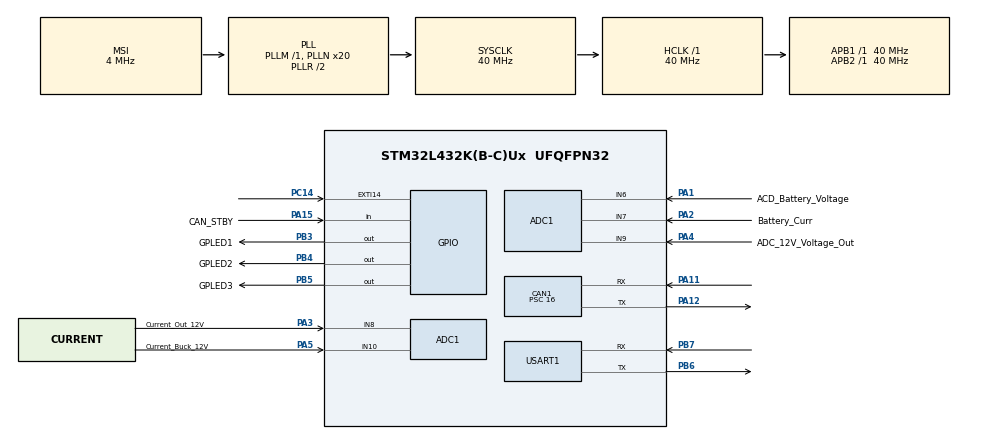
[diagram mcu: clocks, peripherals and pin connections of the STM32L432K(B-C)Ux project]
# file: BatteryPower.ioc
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ADC1.Channel-0\#ChannelRegularConversion=ADC_CHANNEL_6
ADC1.Channel-1\#ChannelRegularConversion=ADC_CHANNEL_7
ADC1.Channel-2\#ChannelRegularConversion=ADC_CHANNEL_8
ADC1.Channel-3\#ChannelRegularConversion=ADC_CHANNEL_9
ADC1.Channel-4\#ChannelRegularConversion=ADC_CHANNEL_10
ADC1.ContinuousConvMode=DISABLE
ADC1.NbrOfConversion=5
ADC1.NbrOfConversionFlag=1
ADC1.OffsetNumber-0\#ChannelRegularConversion=ADC_OFFSET_NONE
ADC1.OffsetNumber-1\#ChannelRegularConversion=ADC_OFFSET_NONE
ADC1.OffsetNumber-2\#ChannelRegularConversion=ADC_OFFSET_NONE
ADC1.OffsetNumber-3\#ChannelRegularConversion=ADC_OFFSET_NONE
ADC1.OffsetNumber-4\#ChannelRegularConversion=ADC_OFFSET_NONE
ADC1.Rank-0\#ChannelRegularConversion=1
ADC1.Rank-1\#ChannelRegularConversion=2
ADC1.Rank-2\#ChannelRegularConversion=3
ADC1.Rank-3\#ChannelRegularConversion=4
ADC1.Rank-4\#ChannelRegularConversion=5
ADC1.SamplingTime-0\#ChannelRegularConversion=ADC_SAMPLETIME_2CYCLES_5
ADC1.SamplingTime-1\#ChannelRegularConversion=ADC_SAMPLETIME_2CYCLES_5
ADC1.SamplingTime-2\#ChannelRegularConversion=ADC_SAMPLETIME_2CYCLES_5
ADC1.SamplingTime-3\#ChannelRegularConversion=ADC_SAMPLETIME_2CYCLES_5
ADC1.SamplingTime-4\#ChannelRegularConversion=ADC_SAMPLETIME_2CYCLES_5
ADC1.master=1
CAN1.BS1=CAN_BS1_3TQ
CAN1.CalculateBaudRate=500000
CAN1.CalculateTimeBit=2000
CAN1.CalculateTimeQuantum=400.0
CAN1.Prescaler=16
Dma.ADC1.0.Direction=DMA_PERIPH_TO_MEMORY
Dma.ADC1.0.Instance=DMA1_Channel1
Dma.ADC1.0.MemDataAlignment=DMA_MDATAALIGN_WORD
Dma.ADC1.0.MemInc=DMA_MINC_ENABLE
Dma.ADC1.0.Mode=DMA_CIRCULAR
Dma.ADC1.0.PeriphDataAlignment=DMA_PDATAALIGN_WORD
Dma.ADC1.0.PeriphInc=DMA_PINC_DISABLE
Dma.ADC1.0.Priority=DMA_PRIORITY_LOW
Dma.Request0=ADC1
FREERTOS.Queues01=canRxQueue,16,uint32_t,0,Dynamic,NULL,NULL
FREERTOS.Tasks01=pull_sensor,24,128,AdcTask,Default,NULL,Dynamic,NULL,NULL;can_manger,8,128,CanTask,Default,NULL,Dynamic,NULL,NULL
Mcu.Family=STM32L4
Mcu.Name=STM32L432K(B-C)Ux
Mcu.Package=UFQFPN32
NVIC.DMA1_Channel1_IRQn=true\:5\:0\:false\:false\:true\:true\:false\:true\:true
NVIC.PriorityGroup=NVIC_PRIORITYGROUP_4
PA1.GPIO_Label=ACD_Battery_Voltage
PA1.Signal=ADCx_IN6
PA11.Mode=CAN_Activate
PA11.Signal=CAN1_RX
PA12.Mode=CAN_Activate
PA12.Signal=CAN1_TX
PA13\ (JTMS-SWDIO).Mode=Serial_Wire
PA13\ (JTMS-SWDIO).Signal=SYS_JTMS-SWDIO
PA14\ (JTCK-SWCLK).Mode=Serial_Wire
PA14\ (JTCK-SWCLK).Signal=SYS_JTCK-SWCLK
PA15\ (JTDI).GPIO_Label=CAN_STBY
PA15\ (JTDI).GPIO_PuPd=GPIO_PULLDOWN
PA15\ (JTDI).Signal=GPIO_Input
PA2.GPIO_Label=Battery_Curr
PA2.Signal=ADCx_IN7
PA3.GPIO_Label=Current_Out_12V
PA3.Signal=ADCx_IN8
PA4.GPIO_Label=ADC_12V_Voltage_Out
PA4.Signal=ADCx_IN9
PA5.GPIO_Label=Current_Buck_12V
PA5.Signal=ADCx_IN10
PB3\ (JTDO-TRACESWO).GPIO_Label=GPLED1
PB3\ (JTDO-TRACESWO).Signal=GPIO_Output
PB4\ (NJTRST).GPIO_Label=GPLED2
PB4\ (NJTRST).Signal=GPIO_Output
PB5.GPIO_Label=GPLED3
PB5.Signal=GPIO_Output
PB6.Mode=Asynchronous
PB6.Signal=USART1_TX
PB7.Mode=Asynchronous
PB7.Signal=USART1_RX
PC14-OSC32_IN\ (PC14).Signal=GPXTI14
ProjectManager.HeapSize=0x200
ProjectManager.StackSize=0x400
ProjectManager.TargetToolchain=STM32CubeIDE
RCC.ADCFreq_Value=32000000
RCC.AHBFreq_Value=40000000
RCC.APB1Freq_Value=40000000
RCC.APB1TimFreq_Value=40000000
RCC.APB2Freq_Value=40000000
RCC.APB2TimFreq_Value=40000000
RCC.CortexFreq_Value=40000000
RCC.HCLKFreq_Value=40000000
RCC.HSE_VALUE=8000000
RCC.HSI48_VALUE=48000000
RCC.HSI_VALUE=16000000
RCC.LSE_VALUE=32768
RCC.MSI_VALUE=4000000
RCC.PLLN=20
RCC.PLLSAI1N=16
RCC.SYSCLKFreq_VALUE=40000000
RCC.SYSCLKSource=RCC_SYSCLKSOURCE_PLLCLK
RCC.USBFreq_Value=32000000
RCC.VCOOutputFreq_Value=80000000
SH.ADCx_IN10.0=ADC1_IN10,IN10-Single-Ended
SH.ADCx_IN6.0=ADC1_IN6,IN6-Single-Ended
SH.ADCx_IN7.0=ADC1_IN7,IN7-Single-Ended
SH.ADCx_IN8.0=ADC1_IN8,IN8-Single-Ended
SH.ADCx_IN9.0=ADC1_IN9,IN9-Single-Ended
USART1.VirtualMode-Asynchronous=VM_ASYNC
VP_FREERTOS_VS_CMSIS_V2.Mode=CMSIS_V2
board=custom

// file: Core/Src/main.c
/* USER CODE BEGIN Header */
/**
  ******************************************************************************
  * @file           : main.c
  * @brief          : Main program body
  ******************************************************************************
  * @attention
  *
  * Copyright (c) 2024 STMicroelectronics.
  * All rights reserved.
  *
  * This software is licensed under terms that can be found in the LICENSE file
  * in the root directory of this software component.
  * If no LICENSE file comes with this software, it is provided AS-IS.
  *
  ******************************************************************************
  */
/* USER CODE END Header */
#include "main.h"
#include "cmsis_os.h"

/* USER CODE BEGIN PTD */

typedef struct bbData_t {
  uint32_t batt_volt;
  uint32_t batt_cur;
  uint32_t output_volt; // 12 volt output voltage
  uint32_t output_cur; // 12 volt output current
  uint32_t buck_cur; // 5 volt buck current
} bbData_t;

/* USER CODE END PTD */

ADC_HandleTypeDef hadc1;
DMA_HandleTypeDef hdma_adc1;

CAN_HandleTypeDef hcan1;

UART_HandleTypeDef huart1;

/* Definitions for pull_sensor */
osThreadId_t pull_sensorHandle;
const osThreadAttr_t pull_sensor_attributes = {
  .name = "pull_sensor",
  .stack_size = 128 * 4,
  .priority = (osPriority_t) osPriorityNormal,
};
/* USER CODE BEGIN PV */
bbData_t battery_board_data[10];

volatile uint32_t adcResults[5];

/* USER CODE END PV */

void SystemClock_Config(void);
static void MX_GPIO_Init(void);
static void MX_DMA_Init(void);
static void MX_CAN1_Init(void);
static void MX_USART1_UART_Init(void);
static void MX_ADC1_Init(void);
void StartAdcTask(void *argument);

/* USER CODE BEGIN PFP */

uint32_t conversion_completed = 0;

void HAL_ADC_ConvCpltCallback(ADC_HandleTypeDef *hadc) {
  if (hadc->Instance == hadc1.Instance) {
    conversion_completed++;
  }
}

/* USER CODE END PFP */

int main(void)
{

  /* MCU Configuration--------------------------------------------------------*/

  /* Reset of all peripherals, Initializes the Flash interface and the Systick. */
  HAL_Init();

  /* Configure the system clock */
  SystemClock_Config();

  /* Initialize all configured peripherals */
  MX_GPIO_Init();
  MX_DMA_Init();
  MX_CAN1_Init();
  MX_USART1_UART_Init();
  MX_ADC1_Init();

  /* Init scheduler */
  osKernelInitialize();

  /* Create the thread(s) */
  /* creation of pull_sensor */
  pull_sensorHandle = osThreadNew(StartAdcTask, NULL, &pull_sensor_attributes);

  /* Start scheduler */
  osKernelStart();

  /* We should never get here as control is now taken by the scheduler */
  /* Infinite loop */
  while (1)
  {

  }
}

void SystemClock_Config(void)
{
  RCC_OscInitTypeDef RCC_OscInitStruct = {0};
  RCC_ClkInitTypeDef RCC_ClkInitStruct = {0};

  /** Configure the main internal regulator output voltage
  */
  if (HAL_PWREx_ControlVoltageScaling(PWR_REGULATOR_VOLTAGE_SCALE1) != HAL_OK)
  {
    Error_Handler();
  }

  /** Initializes the RCC Oscillators according to the specified parameters
  * in the RCC_OscInitTypeDef structure.
  */
  RCC_OscInitStruct.OscillatorType = RCC_OSCILLATORTYPE_MSI;
  RCC_OscInitStruct.MSIState = RCC_MSI_ON;
  RCC_OscInitStruct.MSICalibrationValue = 0;
  RCC_OscInitStruct.MSIClockRange = RCC_MSIRANGE_6;
  RCC_OscInitStruct.PLL.PLLState = RCC_PLL_ON;
  RCC_OscInitStruct.PLL.PLLSource = RCC_PLLSOURCE_MSI;
  RCC_OscInitStruct.PLL.PLLM = 1;
  RCC_OscInitStruct.PLL.PLLN = 20;
  RCC_OscInitStruct.PLL.PLLP = RCC_PLLP_DIV7;
  RCC_OscInitStruct.PLL.PLLQ = RCC_PLLQ_DIV2;
  RCC_OscInitStruct.PLL.PLLR = RCC_PLLR_DIV2;
  if (HAL_RCC_OscConfig(&RCC_OscInitStruct) != HAL_OK)
  {
    Error_Handler();
  }

  /** Initializes the CPU, AHB and APB buses clocks
  */
  RCC_ClkInitStruct.ClockType = RCC_CLOCKTYPE_HCLK|RCC_CLOCKTYPE_SYSCLK
                              |RCC_CLOCKTYPE_PCLK1|RCC_CLOCKTYPE_PCLK2;
  RCC_ClkInitStruct.SYSCLKSource = RCC_SYSCLKSOURCE_PLLCLK;
  RCC_ClkInitStruct.AHBCLKDivider = RCC_SYSCLK_DIV1;
  RCC_ClkInitStruct.APB1CLKDivider = RCC_HCLK_DIV1;
  RCC_ClkInitStruct.APB2CLKDivider = RCC_HCLK_DIV1;

  if (HAL_RCC_ClockConfig(&RCC_ClkInitStruct, FLASH_LATENCY_2) != HAL_OK)
  {
    Error_Handler();
  }
}

static void MX_ADC1_Init(void)
{

  ADC_ChannelConfTypeDef sConfig = {0};

  /** Common config
  */
  hadc1.Instance = ADC1;
  hadc1.Init.ClockPrescaler = ADC_CLOCK_ASYNC_DIV1;
  hadc1.Init.Resolution = ADC_RESOLUTION_12B;
  hadc1.Init.DataAlign = ADC_DATAALIGN_RIGHT;
  hadc1.Init.ScanConvMode = ADC_SCAN_ENABLE;
  hadc1.Init.EOCSelection = ADC_EOC_SINGLE_CONV;
  hadc1.Init.LowPowerAutoWait = DISABLE;
  hadc1.Init.ContinuousConvMode = DISABLE;
  hadc1.Init.NbrOfConversion = 5;
  hadc1.Init.DiscontinuousConvMode = DISABLE;
  hadc1.Init.ExternalTrigConv = ADC_SOFTWARE_START;
  hadc1.Init.ExternalTrigConvEdge = ADC_EXTERNALTRIGCONVEDGE_NONE;
  hadc1.Init.DMAContinuousRequests = DISABLE;
  hadc1.Init.Overrun = ADC_OVR_DATA_PRESERVED;
  hadc1.Init.OversamplingMode = DISABLE;
  if (HAL_ADC_Init(&hadc1) != HAL_OK)
  {
    Error_Handler();
  }

  /** Configure Regular Channel
  */
  sConfig.Channel = ADC_CHANNEL_6;
  sConfig.Rank = ADC_REGULAR_RANK_1;
  sConfig.SamplingTime = ADC_SAMPLETIME_2CYCLES_5;
  sConfig.SingleDiff = ADC_SINGLE_ENDED;
  sConfig.OffsetNumber = ADC_OFFSET_NONE;
  sConfig.Offset = 0;
  if (HAL_ADC_ConfigChannel(&hadc1, &sConfig) != HAL_OK)
  {
    Error_Handler();
  }

  /** Configure Regular Channel
  */
  sConfig.Channel = ADC_CHANNEL_7;
  sConfig.Rank = ADC_REGULAR_RANK_2;
  if (HAL_ADC_ConfigChannel(&hadc1, &sConfig) != HAL_OK)
  {
    Error_Handler();
  }

  /** Configure Regular Channel
  */
  sConfig.Channel = ADC_CHANNEL_8;
  sConfig.Rank = ADC_REGULAR_RANK_3;
  if (HAL_ADC_ConfigChannel(&hadc1, &sConfig) != HAL_OK)
  {
    Error_Handler();
  }

  /** Configure Regular Channel
  */
  sConfig.Channel = ADC_CHANNEL_9;
  sConfig.Rank = ADC_REGULAR_RANK_4;
  if (HAL_ADC_ConfigChannel(&hadc1, &sConfig) != HAL_OK)
  {
    Error_Handler();
  }

  /** Configure Regular Channel
  */
  sConfig.Channel = ADC_CHANNEL_10;
  sConfig.Rank = ADC_REGULAR_RANK_5;
  if (HAL_ADC_ConfigChannel(&hadc1, &sConfig) != HAL_OK)
  {
    Error_Handler();
  }

}

static void MX_CAN1_Init(void)
{

  hcan1.Instance = CAN1;
  hcan1.Init.Prescaler = 16;
  hcan1.Init.Mode = CAN_MODE_NORMAL;
  hcan1.Init.SyncJumpWidth = CAN_SJW_1TQ;
  hcan1.Init.TimeSeg1 = CAN_BS1_3TQ;
  hcan1.Init.TimeSeg2 = CAN_BS2_1TQ;
  hcan1.Init.TimeTriggeredMode = DISABLE;
  hcan1.Init.AutoBusOff = DISABLE;
  hcan1.Init.AutoWakeUp = DISABLE;
  hcan1.Init.AutoRetransmission = DISABLE;
  hcan1.Init.ReceiveFifoLocked = DISABLE;
  hcan1.Init.TransmitFifoPriority = DISABLE;
  if (HAL_CAN_Init(&hcan1) != HAL_OK)
  {
    Error_Handler();
  }

}

static void MX_USART1_UART_Init(void)
{

  huart1.Instance = USART1;
  huart1.Init.BaudRate = 115200;
  huart1.Init.WordLength = UART_WORDLENGTH_8B;
  huart1.Init.StopBits = UART_STOPBITS_1;
  huart1.Init.Parity = UART_PARITY_NONE;
  huart1.Init.Mode = UART_MODE_TX_RX;
  huart1.Init.HwFlowCtl = UART_HWCONTROL_NONE;
  huart1.Init.OverSampling = UART_OVERSAMPLING_16;
  huart1.Init.OneBitSampling = UART_ONE_BIT_SAMPLE_DISABLE;
  huart1.AdvancedInit.AdvFeatureInit = UART_ADVFEATURE_NO_INIT;
  if (HAL_UART_Init(&huart1) != HAL_OK)
  {
    Error_Handler();
  }

}

static void MX_DMA_Init(void)
{

  /* DMA controller clock enable */
  __HAL_RCC_DMA1_CLK_ENABLE();

  /* DMA interrupt init */
  /* DMA1_Channel1_IRQn interrupt configuration */
  HAL_NVIC_SetPriority(DMA1_Channel1_IRQn, 5, 0);
  HAL_NVIC_EnableIRQ(DMA1_Channel1_IRQn);

}

static void MX_GPIO_Init(void)
{
  GPIO_InitTypeDef GPIO_InitStruct = {0};

  /* GPIO Ports Clock Enable */
  __HAL_RCC_GPIOC_CLK_ENABLE();
  __HAL_RCC_GPIOA_CLK_ENABLE();
  __HAL_RCC_GPIOB_CLK_ENABLE();

  /*Configure GPIO pin Output Level */
  HAL_GPIO_WritePin(GPIOB, GPLED1_Pin|GPLED2_Pin|GPLED3_Pin, GPIO_PIN_RESET);

  /*Configure GPIO pin : PC14 */
  GPIO_InitStruct.Pin = GPIO_PIN_14;
  GPIO_InitStruct.Mode = GPIO_MODE_IT_RISING;
  GPIO_InitStruct.Pull = GPIO_NOPULL;
  HAL_GPIO_Init(GPIOC, &GPIO_InitStruct);

  /*Configure GPIO pin : CAN_STBY_Pin */
  GPIO_InitStruct.Pin = CAN_STBY_Pin;
  GPIO_InitStruct.Mode = GPIO_MODE_INPUT;
  GPIO_InitStruct.Pull = GPIO_PULLDOWN;
  HAL_GPIO_Init(CAN_STBY_GPIO_Port, &GPIO_InitStruct);

  /*Configure GPIO pins : GPLED1_Pin GPLED2_Pin GPLED3_Pin */
  GPIO_InitStruct.Pin = GPLED1_Pin|GPLED2_Pin|GPLED3_Pin;
  GPIO_InitStruct.Mode = GPIO_MODE_OUTPUT_PP;
  GPIO_InitStruct.Pull = GPIO_NOPULL;
  GPIO_InitStruct.Speed = GPIO_SPEED_FREQ_LOW;
  HAL_GPIO_Init(GPIOB, &GPIO_InitStruct);

}

void StartAdcTask(void *argument)
{
  /* USER CODE BEGIN 5 */
	const float ADC_VOLT_REF = 3.3f / 4096.0f;
	const float VOLT_TO_CURR = 2.5f; //A/V
	const float BATTERY_VOLT_DIVIDER = 10.8f; // voltage divider input 18.5v/ output 1.7123412v
	const float OUTPUT_VOLT_DIVIDER = 7.1f; // voltage divider input 12v/ output 1.68862275v
	memset(adcResults, 0, 5);
	HAL_ADC_Start_DMA(&hadc1, (uint32_t *)adcResults, 5);
	int i = 0;

  /* Infinite loop */
  for(;;)
  {
	  if (conversion_completed) {
		  battery_board_data[i].batt_volt = adcResults[0] * ADC_VOLT_REF * BATTERY_VOLT_DIVIDER;
		  battery_board_data[i].batt_cur = adcResults[1] * ADC_VOLT_REF * VOLT_TO_CURR;
		  battery_board_data[i].output_cur = adcResults[2] * ADC_VOLT_REF * VOLT_TO_CURR;
		  battery_board_data[i].output_volt = adcResults[3] * ADC_VOLT_REF * OUTPUT_VOLT_DIVIDER;
		  battery_board_data[i].output_cur = adcResults[4] * ADC_VOLT_REF * VOLT_TO_CURR;
		  HAL_ADC_Start_DMA(&hadc1, (uint32_t *)adcResults, 5);
		  conversion_completed = 0;
		  i++;
		  if (i >= 10){
			  i = 0;
		  }
	  }
	  osDelay(10);
  }
  /* USER CODE END 5 */
}

void Error_Handler(void)
{
  __disable_irq();
  while (1)
  {
  }
}
